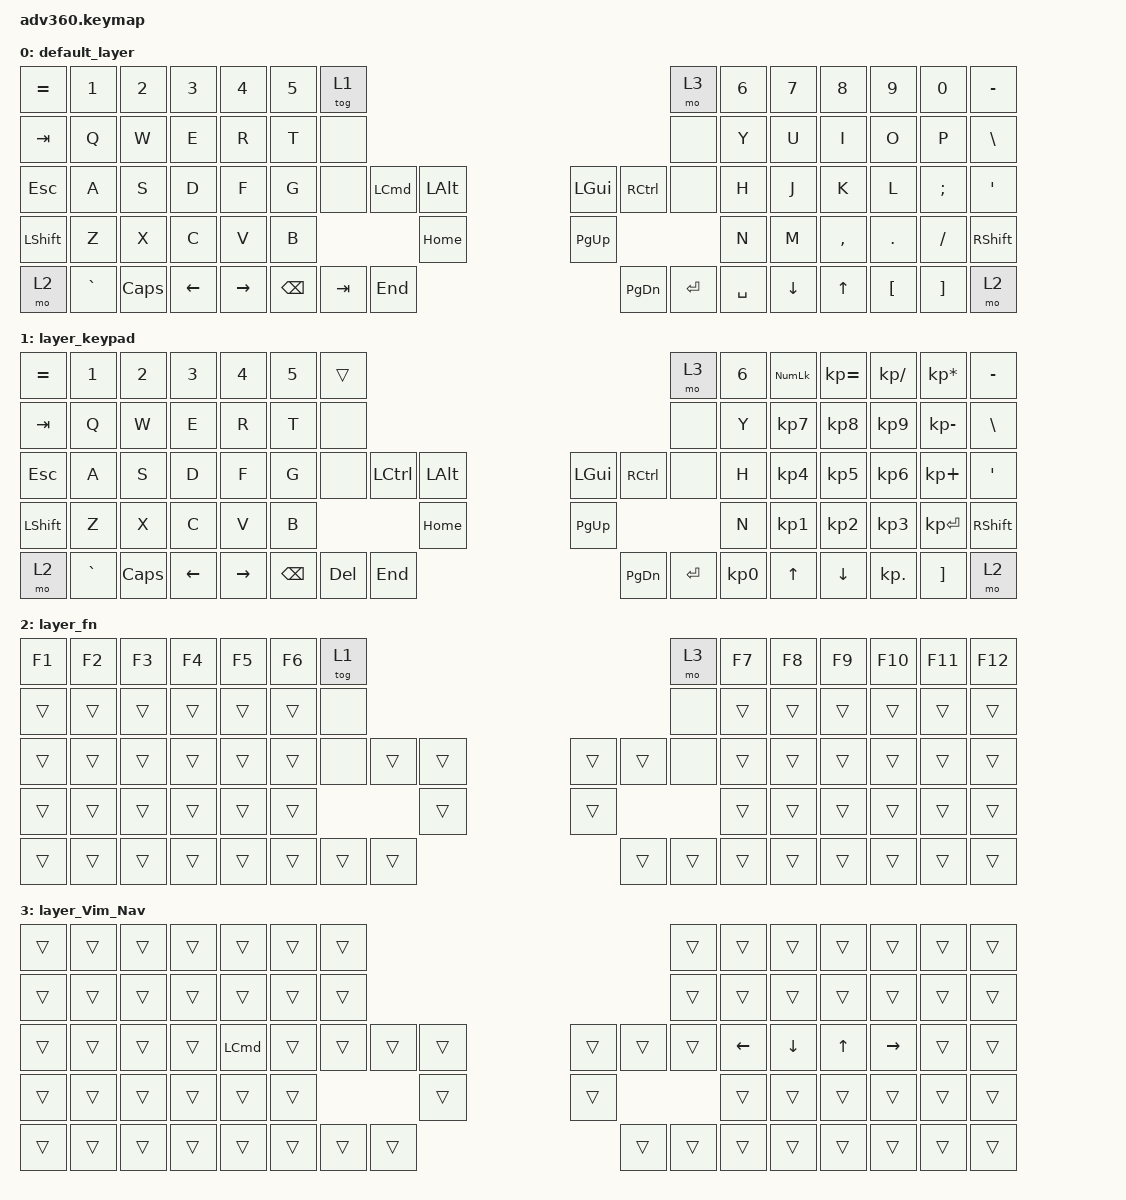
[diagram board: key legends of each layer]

/*
 * Copyright (c) 2020 The ZMK Contributors
 *
 * SPDX-License-Identifier: MIT
 */


/* THIS FILE WAS GENERATED!
 *
 * This file was generated automatically. You may or may not want to
 * edit it directly.
 */

#include <behaviors.dtsi>
#include <dt-bindings/zmk/keys.h>

/ {
  behaviors {
    #include "macros.dtsi"
    #include "version.dtsi"

    hm: homerow_mods {
        compatible = "zmk,behavior-hold-tap";
        label = "HOMEROW_MODS";
        #binding-cells = <2>;
        tapping-term-ms = <200>;
        quick_tap_ms = <175>;
        flavor = "tap-preferred";
        bindings = <&kp>, <&kp>;
    };
  };

    keymap {
        compatible = "zmk,keymap";


        default_layer {
            bindings = <
 &kp EQUAL     &kp N1    &kp N2    &kp N3     &kp N4  &kp N5              &tog 1                                                                                &mo 3  &kp N6          &kp N7        &kp N8    &kp N9    &kp N0  &kp MINUS
   &kp TAB      &kp Q     &kp W     &kp E      &kp R   &kp T               &none                                                                                &none   &kp Y           &kp U         &kp I     &kp O     &kp P   &kp BSLH
   &kp ESC      &kp A     &kp S     &kp D      &kp F   &kp G               &none  &kp LEFT_COMMAND  &kp LALT                   &kp LGUI  &kp RIGHT_CONTROL      &none   &kp H           &kp J         &kp K     &kp L  &kp SEMI    &kp SQT
 &kp LSHFT      &kp Z     &kp X     &kp C      &kp V   &kp B                                        &kp HOME                  &kp PG_UP                                 &kp N           &kp M     &kp COMMA   &kp DOT  &kp FSLH  &kp RSHFT
     &mo 2  &kp GRAVE  &kp CAPS  &kp LEFT  &kp RIGHT                    &kp BSPC           &kp TAB   &kp END                  &kp PG_DN          &kp ENTER  &kp SPACE          &kp DOWN_ARROW  &kp UP_ARROW  &kp LBKT  &kp RBKT      &mo 2
            >;
        };

        layer_keypad {
            bindings = <
 &kp EQUAL     &kp N1    &kp N2    &kp N3     &kp N4  &kp N5              &trans                                                                 &mo 3  &kp N6  &kp KP_NUM  &kp KP_EQUAL  &kp KP_DIVIDE  &kp KP_MULTIPLY  &kp MINUS
   &kp TAB      &kp Q     &kp W     &kp E      &kp R   &kp T               &none                                                                 &none   &kp Y   &kp KP_N7     &kp KP_N8      &kp KP_N9     &kp KP_MINUS   &kp BSLH
   &kp ESC      &kp A     &kp S     &kp D      &kp F   &kp G               &none  &kp LCTRL  &kp LALT                   &kp LGUI  &kp RCTRL      &none   &kp H   &kp KP_N4     &kp KP_N5      &kp KP_N6      &kp KP_PLUS    &kp SQT
 &kp LSHFT      &kp Z     &kp X     &kp C      &kp V   &kp B                                 &kp HOME                  &kp PG_UP                         &kp N   &kp KP_N1     &kp KP_N2      &kp KP_N3     &kp KP_ENTER  &kp RSHFT
     &mo 2  &kp GRAVE  &kp CAPS  &kp LEFT  &kp RIGHT                    &kp BSPC    &kp DEL   &kp END                  &kp PG_DN  &kp ENTER  &kp KP_N0              &kp UP      &kp DOWN     &kp KP_DOT         &kp RBKT      &mo 2
            >;
        };

        layer_fn {
            bindings = <
 &kp F1  &kp F2  &kp F3  &kp F4  &kp F5  &kp F6            &tog 1                                                   &mo 3  &kp F7  &kp F8  &kp F9  &kp F10  &kp F11  &kp F12
 &trans  &trans  &trans  &trans  &trans  &trans             &none                                                   &none  &trans  &trans  &trans   &trans   &trans   &trans
 &trans  &trans  &trans  &trans  &trans  &trans             &none  &trans  &trans                  &trans  &trans   &none  &trans  &trans  &trans   &trans   &trans   &trans
 &trans  &trans  &trans  &trans  &trans  &trans                            &trans                  &trans                  &trans  &trans  &trans   &trans   &trans   &trans
 &trans  &trans  &trans  &trans  &trans                    &trans  &trans  &trans                  &trans  &trans  &trans          &trans  &trans   &trans   &trans   &trans
            >;
        };

        layer_Vim_Nav {
            bindings = <
 &trans  &trans  &trans  &trans            &trans  &trans            &trans                                                  &trans          &trans          &trans        &trans           &trans  &trans  &trans
 &trans  &trans  &trans  &trans            &trans  &trans            &trans                                                  &trans          &trans          &trans        &trans           &trans  &trans  &trans
 &trans  &trans  &trans  &trans  &kp LEFT_COMMAND  &trans            &trans  &trans  &trans                  &trans  &trans  &trans  &kp LEFT_ARROW  &kp DOWN_ARROW  &kp UP_ARROW  &kp RIGHT_ARROW  &trans  &trans
 &trans  &trans  &trans  &trans            &trans  &trans                            &trans                  &trans                          &trans          &trans        &trans           &trans  &trans  &trans
 &trans  &trans  &trans  &trans            &trans                    &trans  &trans  &trans                  &trans  &trans  &trans                          &trans        &trans           &trans  &trans  &trans
            >;
        };

    };
};
